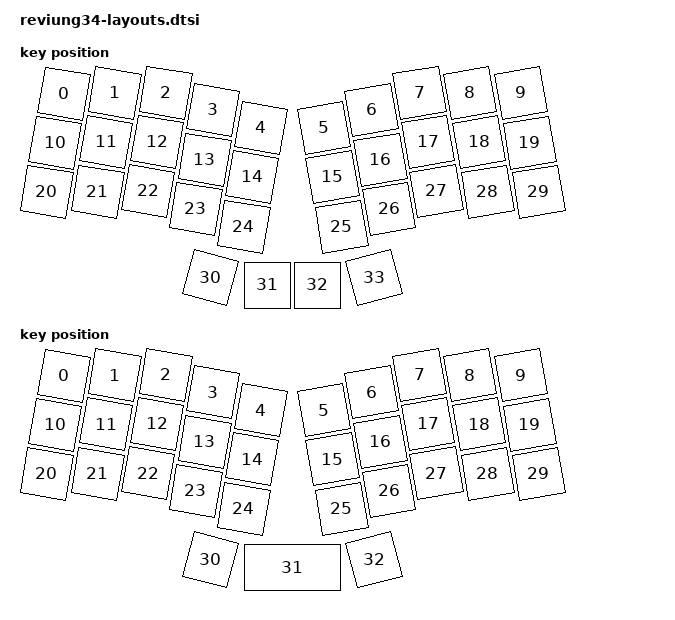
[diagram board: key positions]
/*
 * Copyright (c) 2026 The ZMK Contributors
 *
 * SPDX-License-Identifier: MIT
 */

#include <physical_layouts.dtsi>

/ {
    reviung34_dual_1u_layout: reviung34_dual_1u_layout {
        compatible = "zmk,physical-layout";
        display-name = "Dual 1U (34 keys)";

        keys  //                     w   h    x    y     rot    rx    ry
            = <&key_physical_attrs 100 100   35    2   1000   85   52>
            , <&key_physical_attrs 100 100  136    1   1000  186   51>
            , <&key_physical_attrs 100 100  238    0   1000  288   50>
            , <&key_physical_attrs 100 100  333   35   1000  383   85>
            , <&key_physical_attrs 100 100  429   71   1000  479  121>
            , <&key_physical_attrs 100 100  555   71  (-1000)  605  121>
            , <&key_physical_attrs 100 100  650   35 (-1000)  700   85>
            , <&key_physical_attrs 100 100  746    0 (-1000)  796   50>
            , <&key_physical_attrs 100 100  847    1 (-1000)  897   51>
            , <&key_physical_attrs 100 100  949    1 (-1000)  999   51>
            , <&key_physical_attrs 100 100   17  100   1000   67  150>
            , <&key_physical_attrs 100 100  119   99   1000  169  149>
            , <&key_physical_attrs 100 100  221   98   1000  271  148>
            , <&key_physical_attrs 100 100  316  134   1000  366  184>
            , <&key_physical_attrs 100 100  411  169   1000  461  219>
            , <&key_physical_attrs 100 100  572  169 (-1000)  622  219>
            , <&key_physical_attrs 100 100  668  134 (-1000)  718  184>
            , <&key_physical_attrs 100 100  763   98 (-1000)  813  148>
            , <&key_physical_attrs 100 100  865   99 (-1000)  915  149>
            , <&key_physical_attrs 100 100  966  100 (-1000) 1016  150>
            , <&key_physical_attrs 100 100    0  198   1000   50  248>
            , <&key_physical_attrs 100 100  102  198   1000  152  248>
            , <&key_physical_attrs 100 100  203  197   1000  253  247>
            , <&key_physical_attrs 100 100  298  232   1000  348  282>
            , <&key_physical_attrs 100 100  394  268   1000  444  318>
            , <&key_physical_attrs 100 100  590  268 (-1000)  640  318>
            , <&key_physical_attrs 100 100  685  232 (-1000)  735  282>
            , <&key_physical_attrs 100 100  780  197 (-1000)  830  247>
            , <&key_physical_attrs 100 100  882  198 (-1000)  932  248>
            , <&key_physical_attrs 100 100  984  198 (-1000) 1034  248>
            , <&key_physical_attrs 100 100  328  370   1500  378  420>
            , <&key_physical_attrs 100 100  442  385      0    0    0>
            , <&key_physical_attrs 100 100  542  385      0    0    0>
            , <&key_physical_attrs 100 100  655  370 (-1500)  705  420>
        ;
    };

    reviung34_single_2u_layout: reviung34_single_2u_layout {
        compatible = "zmk,physical-layout";
        display-name = "Single 2U (33 keys)";

        keys  //                     w   h    x    y     rot    rx    ry
            = <&key_physical_attrs 100 100   35    2   1000   85   52>
            , <&key_physical_attrs 100 100  136    1   1000  186   51>
            , <&key_physical_attrs 100 100  238    0   1000  288   50>
            , <&key_physical_attrs 100 100  333   35   1000  383   85>
            , <&key_physical_attrs 100 100  429   71   1000  479  121>
            , <&key_physical_attrs 100 100  555   71 (-1000)  605  121>
            , <&key_physical_attrs 100 100  650   35 (-1000)  700   85>
            , <&key_physical_attrs 100 100  746    0 (-1000)  796   50>
            , <&key_physical_attrs 100 100  847    1 (-1000)  897   51>
            , <&key_physical_attrs 100 100  949    1 (-1000)  999   51>
            , <&key_physical_attrs 100 100   17  100   1000   67  150>
            , <&key_physical_attrs 100 100  119   99   1000  169  149>
            , <&key_physical_attrs 100 100  221   98   1000  271  148>
            , <&key_physical_attrs 100 100  316  134   1000  366  184>
            , <&key_physical_attrs 100 100  411  169   1000  461  219>
            , <&key_physical_attrs 100 100  572  169 (-1000)  622  219>
            , <&key_physical_attrs 100 100  668  134 (-1000)  718  184>
            , <&key_physical_attrs 100 100  763   98 (-1000)  813  148>
            , <&key_physical_attrs 100 100  865   99 (-1000)  915  149>
            , <&key_physical_attrs 100 100  966  100 (-1000) 1016  150>
            , <&key_physical_attrs 100 100    0  198   1000   50  248>
            , <&key_physical_attrs 100 100  102  198   1000  152  248>
            , <&key_physical_attrs 100 100  203  197   1000  253  247>
            , <&key_physical_attrs 100 100  298  232   1000  348  282>
            , <&key_physical_attrs 100 100  394  268   1000  444  318>
            , <&key_physical_attrs 100 100  590  268 (-1000)  640  318>
            , <&key_physical_attrs 100 100  685  232 (-1000)  735  282>
            , <&key_physical_attrs 100 100  780  197 (-1000)  830  247>
            , <&key_physical_attrs 100 100  882  198 (-1000)  932  248>
            , <&key_physical_attrs 100 100  984  198 (-1000) 1034  248>
            , <&key_physical_attrs 100 100  328  370   1500  378  420>
            , <&key_physical_attrs 200 100  442  385       0     0     0>
            , <&key_physical_attrs 100 100  655  370 (-1500)  705  420>
        ;
    };

    reviung34_position_map {
        compatible = "zmk,physical-layout-position-map";

        reviung34_dual_1u_posmap {
            physical-layout = <&reviung34_dual_1u_layout>;
            positions
                = < 0  1  2  3  4  5  6  7  8  9>
                , <10 11 12 13 14 15 16 17 18 19>
                , <20 21 22 23 24 25 26 27 28 29>
                , <30 31 33 32>;
        };

        reviung34_single_2u_posmap {
            physical-layout = <&reviung34_single_2u_layout>;
            positions
                = < 0  1  2  3  4  5  6  7  8  9>
                , <10 11 12 13 14 15 16 17 18 19>
                , <20 21 22 23 24 25 26 27 28 29>
                , <30 31 32>;
        };
    };
};
